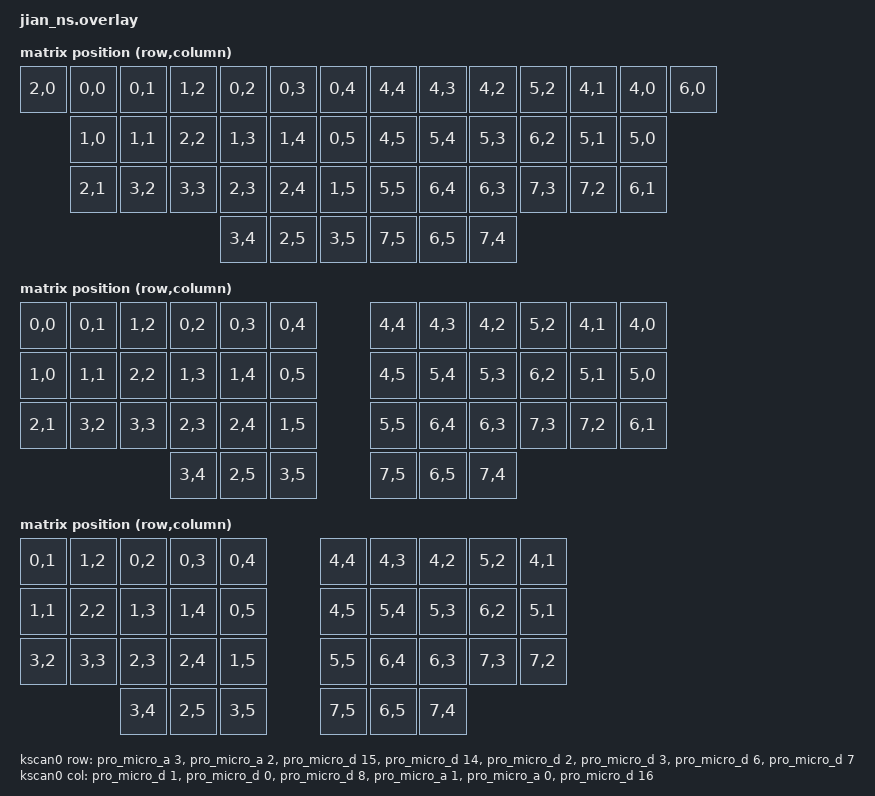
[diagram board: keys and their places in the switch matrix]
/*
 * Copyright (c) 2020 The ZMK Contributors
 *
 * SPDX-License-Identifier: MIT
 */

#include <dt-bindings/zmk/matrix_transform.h>

/ {
    chosen {
		zmk,kscan = &kscan0;
		zmk,matrix_transform = &default_transform;
	};

	default_transform: keymap_transform_0 {
		compatible = "zmk,matrix-transform";
		columns = <12>;
		rows = <4>;
// | SW0  | SW1  | SW2  | SW3  | SW4  | SW5  | SW6  |   | SW6  | SW5  | SW4  | SW3  | SW2  | SW1  | SW0  |
// |      | SW7  | SW8  | SW9  | SW10 | SW11 | SW12 |   | SW12 | SW11 | SW10 | SW9  | SW8  | SW7  |
// |      | SW13 | SW14 | SW15 | SW16 | SW17 | SW18 |   | SW18 | SW17 | SW16 | SW15 | SW14 | SW13 |
//                             | SW19 | SW20 | SW21 |   | SW21 | SW20 | SW19 |
		map = <
    RC(2,0) RC(0,0) RC(0,1) RC(1,2) RC(0,2) RC(0,3) RC(0,4)  RC(4,4) RC(4,3) RC(4,2) RC(5,2) RC(4,1) RC(4,0) RC(6,0)
            RC(1,0) RC(1,1) RC(2,2) RC(1,3) RC(1,4) RC(0,5)  RC(4,5) RC(5,4) RC(5,3) RC(6,2) RC(5,1) RC(5,0)
            RC(2,1) RC(3,2) RC(3,3) RC(2,3) RC(2,4) RC(1,5)  RC(5,5) RC(6,4) RC(6,3) RC(7,3) RC(7,2) RC(6,1)
                                    RC(3,4) RC(2,5) RC(3,5)  RC(7,5) RC(6,5) RC(7,4)
		>;
	};

		crkbd_transform: keymap_transform_1 {
		compatible = "zmk,matrix-transform";
		columns = <12>;
		rows = <4>;
// | SW1  | SW2  | SW3  | SW4  | SW5  | SW6  |   | SW6  | SW5  | SW4  | SW3  | SW2  | SW1  |
// | SW7  | SW8  | SW9  | SW10 | SW11 | SW12 |   | SW12 | SW11 | SW10 | SW9  | SW8  | SW7  |
// | SW13 | SW14 | SW15 | SW16 | SW17 | SW18 |   | SW18 | SW17 | SW16 | SW15 | SW14 | SW13 |
//                      | SW19 | SW20 | SW21 |   | SW21 | SW20 | SW19 |
		map = <
    RC(0,0) RC(0,1) RC(1,2) RC(0,2) RC(0,3) RC(0,4)  RC(4,4) RC(4,3) RC(4,2) RC(5,2) RC(4,1) RC(4,0)
    RC(1,0) RC(1,1) RC(2,2) RC(1,3) RC(1,4) RC(0,5)  RC(4,5) RC(5,4) RC(5,3) RC(6,2) RC(5,1) RC(5,0)
    RC(2,1) RC(3,2) RC(3,3) RC(2,3) RC(2,4) RC(1,5)  RC(5,5) RC(6,4) RC(6,3) RC(7,3) RC(7,2) RC(6,1)
                            RC(3,4) RC(2,5) RC(3,5)  RC(7,5) RC(6,5) RC(7,4)
		>;
	};

	five_column_transform: keymap_transform_2 {
		compatible = "zmk,matrix-transform";
		columns = <10>;
		rows = <4>;
// | SW2  | SW3  | SW4  | SW5  | SW6  |   | SW6  | SW5  | SW4  | SW3  | SW2  |
// | SW8  | SW9  | SW10 | SW11 | SW12 |   | SW12 | SW11 | SW10 | SW9  | SW8  |
// | SW14 | SW15 | SW16 | SW17 | SW18 |   | SW18 | SW17 | SW16 | SW15 | SW14 |
//                      | SW19 | SW20 | SW21 |   | SW21 | SW20 | SW19 |
		map = <
    RC(0,1) RC(1,2) RC(0,2) RC(0,3) RC(0,4)  RC(4,4) RC(4,3) RC(4,2) RC(5,2) RC(4,1)
    RC(1,1) RC(2,2) RC(1,3) RC(1,4) RC(0,5)  RC(4,5) RC(5,4) RC(5,3) RC(6,2) RC(5,1)
    RC(3,2) RC(3,3) RC(2,3) RC(2,4) RC(1,5)  RC(5,5) RC(6,4) RC(6,3) RC(7,3) RC(7,2)
                    RC(3,4) RC(2,5) RC(3,5)  RC(7,5) RC(6,5) RC(7,4)
		>;
	};

    kscan0: kscan_0 {
        compatible = "zmk,kscan-gpio-matrix";
        label = "KSCAN";
        diode-direction = "col2row";

        col-gpios
            = <&pro_micro_d  1 GPIO_ACTIVE_HIGH>
            , <&pro_micro_d  0 GPIO_ACTIVE_HIGH>
            , <&pro_micro_d  8 GPIO_ACTIVE_HIGH>
            , <&pro_micro_a  1 GPIO_ACTIVE_HIGH>
            , <&pro_micro_a  0 GPIO_ACTIVE_HIGH>
            , <&pro_micro_d 16 GPIO_ACTIVE_HIGH>
		    ;

        row-gpios
			= <&pro_micro_a  3 (GPIO_ACTIVE_HIGH | GPIO_PULL_DOWN)>
			, <&pro_micro_a  2 (GPIO_ACTIVE_HIGH | GPIO_PULL_DOWN)>
			, <&pro_micro_d 15 (GPIO_ACTIVE_HIGH | GPIO_PULL_DOWN)>
			, <&pro_micro_d 14 (GPIO_ACTIVE_HIGH | GPIO_PULL_DOWN)>
            , <&pro_micro_d  2 (GPIO_ACTIVE_HIGH | GPIO_PULL_DOWN)>
            , <&pro_micro_d  3 (GPIO_ACTIVE_HIGH | GPIO_PULL_DOWN)>
            , <&pro_micro_d  6 (GPIO_ACTIVE_HIGH | GPIO_PULL_DOWN)>
            , <&pro_micro_d  7 (GPIO_ACTIVE_HIGH | GPIO_PULL_DOWN)>
            ;
    };
};
